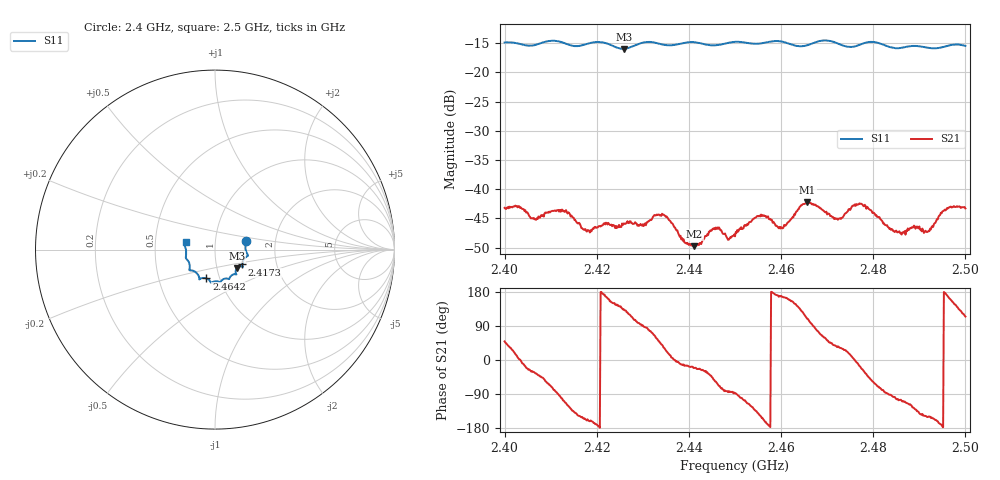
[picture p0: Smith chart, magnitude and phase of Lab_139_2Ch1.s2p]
# Hz S RI R 50
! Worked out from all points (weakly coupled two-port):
!   601 points, 2.4 GHz to 2.5 GHz, reference 50 ohm
!   highest |S21| = -42.24 dB at 2.4657 GHz (marker M1); lowest = -49.8 dB at 2.4412 GHz (marker M2)
!   lowest |S11| = -15.9 dB at 2.4258 GHz (marker M3), VSWR 1.38, Z = 62.2 - j13.2 ohm
!   |S11| at or under -10 dB: start of sweep to end of sweep
!   S12 and S22 are empty: the file has one direction only
!   S11 on the Smith chart (normalised r, x): 2.4 GHz: 1.41, +0.14; 2.4173 GHz: 1.34, -0.23; 2.4642 GHz: 0.86, -0.29; 2.5 GHz: 0.72, +0.06
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2.4e9  0.1737 0.0492  0.00454 0.00523  0 0  0 0
2.402833e9  0.1738 0.0356  0.00694 0.000842  0 0  0 0
2.406667e9  0.1719 -0.0067  0.0045 -0.00316  0 0  0 0
2.412833e9  0.1751 -0.0395  -0.00196 -0.00624  0 0  0 0
2.416667e9  0.1528 -0.0753  -0.00407 -0.00224  0 0  0 0
2.417333e9  0.1521 -0.0828  -0.00403 -0.00197  0 0  0 0
2.425833e9  0.1213 -0.1035  -0.00354 0.00365  0 0  0 0
2.433333e9  0.1127 -0.1368  0.00379 0.00473  0 0  0 0
2.441167e9  0.0774 -0.1646  0.00303 -0.00116  0 0  0 0
2.445667e9  0.0497 -0.1634  0.00251 -0.00377  0 0  0 0
2.45e9  0.0296 -0.1806  0.000108 -0.00394  0 0  0 0
2.455333e9  -0.00119 -0.177  -0.0049 -0.00335  0 0  0 0
2.460333e9  -0.0244 -0.1819  -0.00449 0.00107  0 0  0 0
2.464167e9  -0.0482 -0.1606  -0.00491 0.00515  0 0  0 0
2.465667e9  -0.0662 -0.1579  -0.00249 0.00732  0 0  0 0
2.466667e9  -0.0761 -0.1594  -0.000624 0.00739  0 0  0 0
2.472e9  -0.0873 -0.1564  0.00451 0.00331  0 0  0 0
2.477333e9  -0.1299 -0.1163  0.00703 -0.00267  0 0  0 0
2.483333e9  -0.1404 -0.0893  -6.08e-05 -0.0047  0 0  0 0
2.4915e9  -0.161 -0.0307  -0.00369 -0.00227  0 0  0 0
2.496333e9  -0.1688 0.0221  -0.00673 0.00174  0 0  0 0
2.5e9  -0.1637 0.0419  -0.00286 0.00622  0 0  0 0
